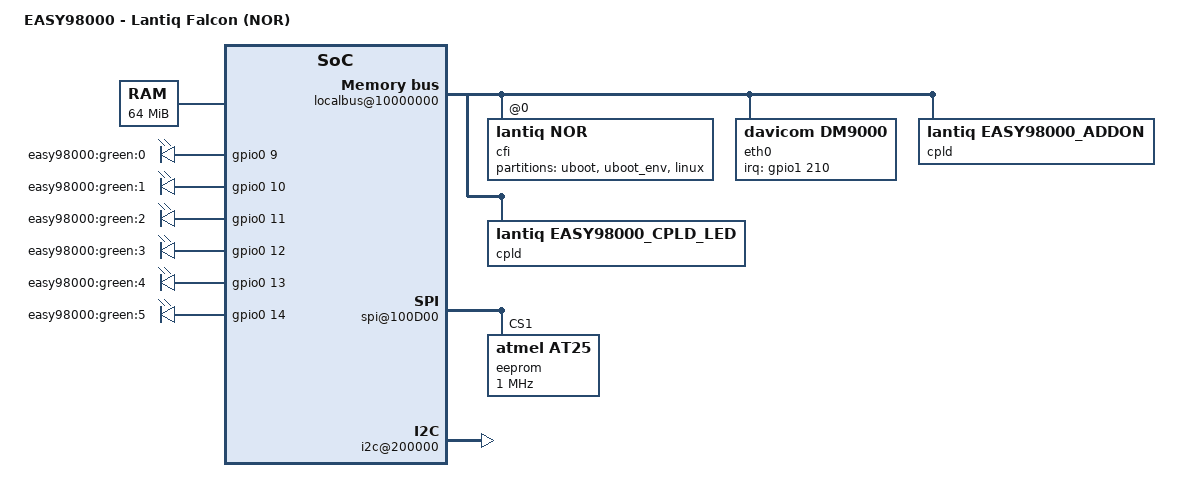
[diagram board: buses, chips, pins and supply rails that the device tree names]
/dts-v1/;

/include/ "falcon.dtsi"

/ {
	model = "EASY98000 - Lantiq Falcon (NOR)";

	chosen {
		// bootargs = "console=ttyLTQ0,115200 init=/etc/preinit";
	};

	alias {
		ethernet0 = &eth0;
	};

	memory@0 {
		reg = <0x0 0x4000000>;
	};
	
	localbus@10000000 {
		cfi@0 {
			compatible = "lantiq,nor";
			bank-width = <2>;
			reg = <0x0 0x4000000>;
			#address-cells = <1>;
			#size-cells = <1>;

			partition@0 {
				label = "uboot";
				reg = <0x00000 0x40000>;
			};

			partition@10000 {
				label = "uboot_env";
				reg = <0x40000 0x40000>;
			};

			partition@20000 {
				label = "linux";
				reg = <0x80000 0x3d0000>;
			};
		};

		eth0: ethernet@4000000 {
			compatible = "davicom,dm9000";
			device_type = "network";
			reg = <0x4000003 0x1>, <0x4000001 0x1>;
			reg-names = "addr", "data";
			interrupt-parent = <&gpio1>;
			// FIXME: this is the mapped irq number
			// as irqdomain for gpio not working yet
			interrupts = <210 0x8>; 
			local-mac-address = [ 00 00 00 00 00 00 ];
		};

		cpld@7c00000 {
			compatible = "lantiq,easy98000_addon";
		};

		cpld@7c0000c {
			compatible = "lantiq,easy98000_cpld_led";
		};
	};

	fpi@1E000000 {
		/* // enable this for second uart:
		serial@100B00 {
			status = "okay";
		};*/

		spi@100D00 {
			status = "okay";

			eeprom@1 {
				compatible = "atmel,at25", "atmel,at25160n";
				reg = <1>;
				spi-max-frequency = <1000000>;
				spi-cpha;
				spi-cpol;

				pagesize = <32>;
				size = <2048>;
				address-width = <16>;
			};
		};

		i2c@200000 {
			status = "okay";
		};
	};

	easy98000-leds {
		compatible = "gpio-leds";
		pinctrl-names = "default";
		pinctrl-0 = <&bootled_pins>;

		LED_0 {
			label = "easy98000:green:0";
			gpios = <&gpio0 9 0>;
			default-state = "keep";
		};
		LED_1 {
			label = "easy98000:green:1";
			gpios = <&gpio0 10 0>;
			default-state = "keep";
		};
		LED_2 {
			label = "easy98000:green:2";
			gpios = <&gpio0 11 0>;
			default-state = "keep";
		};
		LED_3 {
			label = "easy98000:green:3";
			gpios = <&gpio0 12 0>;
			default-state = "keep";
		};
		LED_4 {
			label = "easy98000:green:4";
			gpios = <&gpio0 13 0>;
			default-state = "keep";
		};
		LED_5 {
			label = "easy98000:green:5";
			gpios = <&gpio0 14 0>;
			linux,default-trigger = "heartbeat";
		};
	};
};
